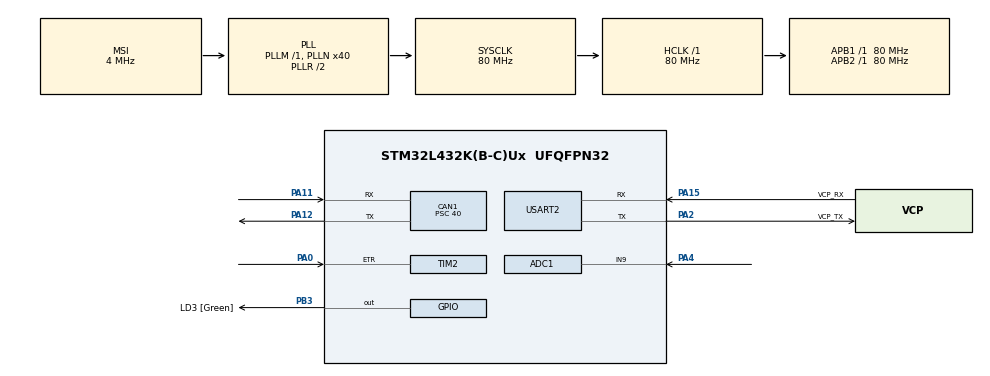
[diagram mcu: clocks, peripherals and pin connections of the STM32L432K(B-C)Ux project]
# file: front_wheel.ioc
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ADC1.Channel-0\#ChannelRegularConversion=ADC_CHANNEL_9
ADC1.ContinuousConvMode=DISABLE
ADC1.DMAContinuousRequests=ENABLE
ADC1.ExternalTrigConv=ADC_EXTERNALTRIG_T1_TRGO
ADC1.NbrOfConversion=1
ADC1.NbrOfConversionFlag=1
ADC1.OffsetNumber-0\#ChannelRegularConversion=ADC_OFFSET_NONE
ADC1.OversamplingMode=ENABLE
ADC1.Rank-0\#ChannelRegularConversion=1
ADC1.Ratio=ADC_OVERSAMPLING_RATIO_16
ADC1.RightBitShift=ADC_RIGHTBITSHIFT_4
ADC1.SamplingTime-0\#ChannelRegularConversion=ADC_SAMPLETIME_640CYCLES_5
ADC1.master=1
CAN1.BS1=CAN_BS1_3TQ
CAN1.BS2=CAN_BS2_4TQ
CAN1.CalculateBaudRate=250000
CAN1.CalculateTimeBit=4000
CAN1.CalculateTimeQuantum=500.0
CAN1.Mode=CAN_MODE_NORMAL
CAN1.Prescaler=40
Dma.ADC1.0.Direction=DMA_PERIPH_TO_MEMORY
Dma.ADC1.0.Instance=DMA1_Channel1
Dma.ADC1.0.MemDataAlignment=DMA_MDATAALIGN_HALFWORD
Dma.ADC1.0.MemInc=DMA_MINC_ENABLE
Dma.ADC1.0.Mode=DMA_CIRCULAR
Dma.ADC1.0.PeriphDataAlignment=DMA_PDATAALIGN_HALFWORD
Dma.ADC1.0.PeriphInc=DMA_PINC_DISABLE
Dma.ADC1.0.Priority=DMA_PRIORITY_LOW
Dma.Request0=ADC1
Mcu.Family=STM32L4
Mcu.Name=STM32L432K(B-C)Ux
Mcu.Package=UFQFPN32
NVIC.CAN1_RX0_IRQn=true\:0\:0\:false\:false\:true\:true\:true\:true
NVIC.CAN1_RX1_IRQn=true\:0\:0\:false\:false\:true\:true\:true\:true
NVIC.DMA1_Channel1_IRQn=true\:0\:0\:false\:false\:true\:false\:true\:true
NVIC.PriorityGroup=NVIC_PRIORITYGROUP_4
NVIC.TIM6_DAC_IRQn=true\:15\:0\:true\:false\:true\:true\:true\:true
PA0.Signal=S_TIM2_ETR
PA11.Mode=CAN_Activate
PA11.Signal=CAN1_RX
PA12.Mode=CAN_Activate
PA12.Signal=CAN1_TX
PA13\ (JTMS-SWDIO).GPIO_Label=SWDIO
PA13\ (JTMS-SWDIO).Mode=Serial_Wire
PA13\ (JTMS-SWDIO).Signal=SYS_JTMS-SWDIO
PA14\ (JTCK-SWCLK).GPIO_Label=SWCLK
PA14\ (JTCK-SWCLK).Mode=Serial_Wire
PA14\ (JTCK-SWCLK).Signal=SYS_JTCK-SWCLK
PA15\ (JTDI).GPIO_Label=VCP_RX
PA15\ (JTDI).Mode=Asynchronous
PA15\ (JTDI).Signal=USART2_RX
PA2.GPIO_Label=VCP_TX
PA2.Mode=Asynchronous
PA2.Signal=USART2_TX
PA4.Signal=ADCx_IN9
PB3\ (JTDO-TRACESWO).GPIO_Label=LD3 [Green]
PB3\ (JTDO-TRACESWO).Signal=GPIO_Output
ProjectManager.HeapSize=0x200
ProjectManager.StackSize=0x400
ProjectManager.TargetToolchain=Makefile
RCC.ADCFreq_Value=32000000
RCC.AHBFreq_Value=80000000
RCC.APB1Freq_Value=80000000
RCC.APB1TimFreq_Value=80000000
RCC.APB2Freq_Value=80000000
RCC.APB2TimFreq_Value=80000000
RCC.CortexFreq_Value=80000000
RCC.HCLKFreq_Value=80000000
RCC.HSE_VALUE=8000000
RCC.HSI16_VALUE=16000000
RCC.HSI48_VALUE=48000000
RCC.HSI_VALUE=16000000
RCC.LSE_VALUE=32768
RCC.MSI_VALUE=4000000
RCC.PLLMUL=RCC_PLLMUL_4
RCC.PLLN=40
RCC.PLLSAI1N=16
RCC.SYSCLKFreq_VALUE=80000000
RCC.SYSCLKSource=RCC_SYSCLKSOURCE_PLLCLK
RCC.USBFreq_Value=32000000
RCC.VCOOutputFreq_Value=160000000
SH.ADCx_IN9.0=ADC1_IN9,IN9-Single-Ended
SH.S_TIM2_ETR.0=TIM2_ETR,ClockSourceETR_Mode2
TIM1.Period=79
TIM1.Prescaler=9999
TIM1.TIM_MasterOutputTrigger=TIM_TRGO_UPDATE
TIM1.TIM_MasterOutputTrigger2=TIM_TRGO2_UPDATE
TIM6.Period=9999
TIM6.Prescaler=7999
USART2.VirtualMode-Asynchronous=VM_ASYNC
VP_TIM1_VS_ClockSourceINT.Mode=Internal
VP_TIM6_VS_ClockSourceINT.Mode=Enable_Timer
board=NUCLEO-L432KC

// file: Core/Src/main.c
/* USER CODE BEGIN Header */
/**
  ******************************************************************************
  * @file           : main.c
  * @brief          : Main program body
  ******************************************************************************
  * @attention
  *
  * Copyright (c) 2024 STMicroelectronics.
  * All rights reserved.
  *
  * This software is licensed under terms that can be found in the LICENSE file
  * in the root directory of this software component.
  * If no LICENSE file comes with this software, it is provided AS-IS.
  *
  ******************************************************************************
  */
/* USER CODE END Header */
#include "main.h"
#include "adc.h"
#include "can.h"
#include "dma.h"
#include "tim.h"
#include "usart.h"
#include "gpio.h"

/* USER CODE BEGIN Includes */
#include "app_can.h"
#include "can_lib.h"
#include "app_tick_counter.h"
#include <string.h>
#include <stdio.h>
//#include "retarget.h"

/* USER CODE END Includes */

/* USER CODE BEGIN PV */
uint32_t            adc_val;
CAN_RxHeaderTypeDef CAN_RxHeader;
uint8_t             CAN_RxData[8];
CAN_TxHeaderTypeDef CAN_TxHeader;
/* USER CODE END PV */

void SystemClock_Config(void);
/* USER CODE BEGIN PFP */
#define PUTCHAR_PROTOTYPE int __io_putchar(int ch)
/* USER CODE END PFP */

/* USER CODE BEGIN 0 */

void HAL_CAN_RxFifo0MsgPendingCallback(CAN_HandleTypeDef *hcan) {
  if(HAL_OK != HAL_CAN_GetRxMessage(hcan, CAN_RX_FIFO0, &CAN_RxHeader, CAN_RxData)) {
    Error_Handler();
  }
  else {
    if(CAN_RxHeader.StdId == 121) {
      HAL_GPIO_TogglePin(LD3_GPIO_Port, LD3_Pin);
    }
  }
  //char dataString[9];
  //memcpy(dataString, CAN_RxData, 8);
  //dataString[8] = '\0';
  //printf("Data read: %s\n\r", dataString);
}

uint32_t HAL_COUNETR_TIMER_GET_COUNTER()
{
  return __HAL_TIM_GET_COUNTER(&htim2);
}
void HAL_TIM_PeriodElapsedCallback(TIM_HandleTypeDef *htim)
{
  if (htim->Instance == TIM6)
  {
    APP_Read_TickFrequency_FromTimer(1.0, HAL_COUNETR_TIMER_GET_COUNTER);
    //uint8_t canFrame[] = {(uint8_t)hz};
    //APP_CAN_Primary_Write(0x111, 1, canFrame);
  }
}
/* USER CODE END 0 */

int main(void)
{

  /* MCU Configuration--------------------------------------------------------*/

  /* Reset of all peripherals, Initializes the Flash interface and the Systick. */
  HAL_Init();

  /* Configure the system clock */
  SystemClock_Config();

  /* Initialize all configured peripherals */
  MX_GPIO_Init();
  MX_DMA_Init();
  MX_USART2_UART_Init();
  MX_CAN1_Init();
  MX_TIM2_Init();
  MX_TIM6_Init();
  MX_ADC1_Init();
  MX_TIM1_Init();
  /* USER CODE BEGIN 2 */
  HAL_CAN_Start(&hcan1);
  HAL_TIM_Base_Start_IT(&htim6);
  HAL_TIM_Base_Start(&htim2);
  HAL_TIM_Base_Start(&htim1);
  HAL_ADC_Start_DMA(&hadc1, &adc_val, 1);
  //RetargetInit(&huart2);

  CAN_RX_TX can1;
  CAN_RX_TX * can1ptr = &can1;
  can1.hcan = hcan1;
  can1.TxHeader.IDE = CAN_ID_STD;
  can1.TxHeader.RTR = CAN_RTR_DATA;
  can1.TxHeader.TransmitGlobalTime = DISABLE;
  // setup id as the one that's been sent, mask 0xffff means that only this id will pass thru the filter
  // mask 0x0000 means that all ids will pass
  cl_setup_filter(can1ptr, 121, 0xffff);
  cl_activate_filter(can1ptr);
  // activate interrupt
  if (HAL_CAN_ActivateNotification(&hcan1, CAN_IT_RX_FIFO0_MSG_PENDING) != HAL_OK) {
	  Error_Handler();
  }
  /* USER CODE END 2 */

  /* Infinite loop */
  /* USER CODE BEGIN WHILE */
  while (1)
  {
    HAL_Delay(500);
    uint8_t fooData[12] = "Hello world!";     // bigger than 8 bytes on purpose
    int cl_status;
    cl_status = cl_send(can1ptr, 121, fooData, sizeof(fooData));
    char * num = malloc(sizeof("123456789"));
    itoa(cl_status, num, 10);
    char text[20] = "status: ";
    //text[7] = cl_status;
    const char * brk = "\n\r";
    strcat(text, num);
    strcat(text, brk);
    HAL_UART_Transmit(&huart2, ((const uint8_t *)text), strlen(text), 0xFFFF);
    //printf("CAN tx status: %d", cl_status);
    //HAL_GPIO_TogglePin(LD3_GPIO_Port, LD3_Pin);
    /* USER CODE END WHILE */

  }
}

void SystemClock_Config(void)
{
  RCC_OscInitTypeDef RCC_OscInitStruct = {0};
  RCC_ClkInitTypeDef RCC_ClkInitStruct = {0};

  /** Configure the main internal regulator output voltage
  */
  if (HAL_PWREx_ControlVoltageScaling(PWR_REGULATOR_VOLTAGE_SCALE1) != HAL_OK)
  {
    Error_Handler();
  }

  /** Initializes the RCC Oscillators according to the specified parameters
  * in the RCC_OscInitTypeDef structure.
  */
  RCC_OscInitStruct.OscillatorType = RCC_OSCILLATORTYPE_MSI;
  RCC_OscInitStruct.MSIState = RCC_MSI_ON;
  RCC_OscInitStruct.MSICalibrationValue = 0;
  RCC_OscInitStruct.MSIClockRange = RCC_MSIRANGE_6;
  RCC_OscInitStruct.PLL.PLLState = RCC_PLL_ON;
  RCC_OscInitStruct.PLL.PLLSource = RCC_PLLSOURCE_MSI;
  RCC_OscInitStruct.PLL.PLLM = 1;
  RCC_OscInitStruct.PLL.PLLN = 40;
  RCC_OscInitStruct.PLL.PLLP = RCC_PLLP_DIV7;
  RCC_OscInitStruct.PLL.PLLQ = RCC_PLLQ_DIV2;
  RCC_OscInitStruct.PLL.PLLR = RCC_PLLR_DIV2;
  if (HAL_RCC_OscConfig(&RCC_OscInitStruct) != HAL_OK)
  {
    Error_Handler();
  }

  /** Initializes the CPU, AHB and APB buses clocks
  */
  RCC_ClkInitStruct.ClockType = RCC_CLOCKTYPE_HCLK|RCC_CLOCKTYPE_SYSCLK
                              |RCC_CLOCKTYPE_PCLK1|RCC_CLOCKTYPE_PCLK2;
  RCC_ClkInitStruct.SYSCLKSource = RCC_SYSCLKSOURCE_PLLCLK;
  RCC_ClkInitStruct.AHBCLKDivider = RCC_SYSCLK_DIV1;
  RCC_ClkInitStruct.APB1CLKDivider = RCC_HCLK_DIV1;
  RCC_ClkInitStruct.APB2CLKDivider = RCC_HCLK_DIV1;

  if (HAL_RCC_ClockConfig(&RCC_ClkInitStruct, FLASH_LATENCY_4) != HAL_OK)
  {
    Error_Handler();
  }
}

/* USER CODE BEGIN 4 */
PUTCHAR_PROTOTYPE
{
  /* Place your implementation of fputc here */
  /* e.g. write a character to the USART1 and Loop until the end of transmission */
  HAL_UART_Transmit(&huart2, (uint8_t *)&ch, 1, 0xFFFF);

  return ch;
}

void HAL_ADC_ConvCpltCallback(ADC_HandleTypeDef *hadc)
{
  if (hadc->Instance == ADC1)
  {
    //uint8_t canFrame[2];
    //canFrame[0] = adc_val & 0xff;
    //canFrame[1] = (adc_val >> 8);
    //APP_CAN_Primary_Write(0x121, 2, canFrame);
  }
}
/* USER CODE END 4 */

void Error_Handler(void)
{
  __disable_irq();
  while (1)
  {
  }
}
